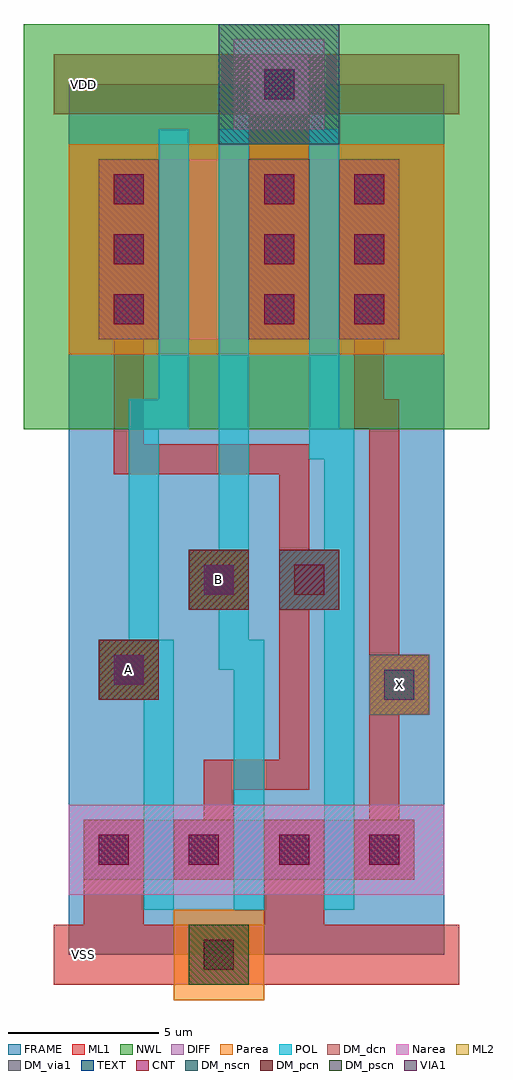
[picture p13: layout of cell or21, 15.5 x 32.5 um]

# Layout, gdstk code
import gdstk
lib = gdstk.Library(unit=1e-6, precision=1e-09)
def R(c, l, rs):  # rectangles x0, y0, x1, y1
    for r in rs: c.add(gdstk.rectangle(r[:2], r[2:], *l))
NWL = (1, 0)
DIFF = (3, 0)
POL = (5, 0)
CNT = (7, 0)
ML1 = (8, 0)
VIA1 = (9, 0)
ML2 = (10, 0)
TEXT = (13, 0)
FRAME = (14, 0)
Parea = (18, 0)
Narea = (19, 0)
DM_dcn = (101, 0)
DM_pcn = (102, 0)
DM_nscn = (103, 0)
DM_pscn = (104, 0)
DM_via1 = (105, 0)

dcont = lib.new_cell('dcont')
R(dcont, DIFF, [(-1,-1,1,1)])
R(dcont, CNT, [(-0.5,-0.5,0.5,0.5)])
R(dcont, ML1, [(-1,-1,1,1)])
R(dcont, TEXT, [(-0.5,-0.5,0.5,0.5)])
R(dcont, DM_dcn, [(-1,-1,1,1)])
dcont.add(gdstk.Label('dcont', (0,0), layer=13, texttype=0))

nsubcont = lib.new_cell('nsubcont')
R(nsubcont, NWL, [(-2,-2,2,2)])
R(nsubcont, Narea, [(-1.5,-1.5,1.5,1.5)])
R(nsubcont, DM_nscn, [(-2,-2,2,2)])
nsubcont.add(gdstk.Reference(dcont, (0,0)))
nsubcont.add(gdstk.Label('NScont', (0,0), layer=13, texttype=0))

pcont = lib.new_cell('pcont')
R(pcont, POL, [(-1,-1,1,1)])
R(pcont, CNT, [(-0.5,-0.5,0.5,0.5)])
R(pcont, ML1, [(-1,-1,1,1)])
R(pcont, DM_pcn, [(-1,-1,1,1)])
pcont.add(gdstk.Label('pcont', (0,0), layer=13, texttype=0))

via = lib.new_cell('Via')
R(via, ML1, [(-1,-1,1,1)])
R(via, VIA1, [(-0.5,-0.5,0.5,0.5)])
R(via, ML2, [(-1,-1,1,1)])
R(via, TEXT, [(-0.5,-0.5,0.5,0.5)])
R(via, DM_via1, [(-1,-1,1,1)])
via.add(gdstk.Label('via', (0,0), layer=13, texttype=0))

psubcont = lib.new_cell('psubcont')
R(psubcont, Parea, [(-1.5,-1.5,1.5,1.5)])
R(psubcont, DM_pscn, [(-1,-1,1,1)])
psubcont.add(gdstk.Reference(dcont, (0,0)))
psubcont.add(gdstk.Label('PScon', (0,0), layer=13, texttype=0))

or21 = lib.new_cell('or21')
R(or21, NWL, [(-1.5,17.5,14,31)])
R(or21, DIFF, [(0.5,2.5,11.5,4.5), (6.5,2.5,11.5,4.5), (1,20.5,11,26.5)])
R(or21, ML1, [(-0.5,-1,13,1), (10,8,12,10), (1,8.5,3,10.5), (4,11.5,6,13.5), (-0.5,28,13,30)])
R(or21, ML2, [(10,8,12,10), (1,8.5,3,10.5), (4,11.5,6,13.5)])
R(or21, FRAME, [(0,0,12.5,29)])
R(or21, Parea, [(0,20,12.5,27)])
R(or21, Narea, [(0,2,12.5,5)])
R(or21, DM_via1, [(10,8,12,10), (1,8.5,3,10.5), (4,11.5,6,13.5)])
or21.add(gdstk.FlexPath([(9,2),(9,17),(8.5,17),(8.5,27)], 1, ends="extended", simple_path=True, layer=5, datatype=0))  # POL
or21.add(gdstk.FlexPath([(3.5,27),(3.5,18),(2.5,18),(2.5,10),(3,10),(3,2)], 1, ends="extended", simple_path=True, layer=5, datatype=0))  # POL
or21.add(gdstk.FlexPath([(5.5,27),(5.5,10),(6,10),(6,2)], 1, ends="extended", simple_path=True, layer=5, datatype=0))  # POL
or21.add(gdstk.FlexPath([(10.5,3.5),(10.5,18),(10,18),(10,20.5)], 1, ends="extended", simple_path=True, layer=8, datatype=0))  # ML1
or21.add(gdstk.FlexPath([(10,22.3),(10,25.5)], 1.4, ends="extended", simple_path=True, layer=8, datatype=0))  # ML1
or21.add(gdstk.FlexPath([(7.5,1),(7.5,3.5)], 2, ends="extended", simple_path=True, layer=8, datatype=0))  # ML1
or21.add(gdstk.FlexPath([(7,21.5),(7,28.5)], 2, ends="extended", simple_path=True, layer=8, datatype=0))  # ML1
or21.add(gdstk.FlexPath([(5,3.5),(5,6),(7.5,6),(7.5,16.5),(2,16.5),(2,20.5)], 1, ends="extended", simple_path=True, layer=8, datatype=0))  # ML1
or21.add(gdstk.FlexPath([(2,22.3),(2,25.5)], 1.4, ends="extended", simple_path=True, layer=8, datatype=0))  # ML1
or21.add(gdstk.FlexPath([(1.5,1),(1.5,3.5)], 2, ends="extended", simple_path=True, layer=8, datatype=0))  # ML1
or21.add(gdstk.Reference(nsubcont, (7,29)))
or21.add(gdstk.Reference(dcont, (10,25.5)))
or21.add(gdstk.Reference(dcont, (7,25.5)))
or21.add(gdstk.Reference(pcont, (5,12.5)))
or21.add(gdstk.Reference(via, (5,12.5)))
or21.add(gdstk.Reference(psubcont, (5,0)))
or21.add(gdstk.Reference(dcont, (2,25.5)))
or21.add(gdstk.Reference(dcont, (10,21.5)))
or21.add(gdstk.Reference(dcont, (2,23.5)))
or21.add(gdstk.Reference(dcont, (10,23.5)))
or21.add(gdstk.Reference(pcont, (2,9.5)))
or21.add(gdstk.Reference(dcont, (4.5,3.5)))
or21.add(gdstk.Reference(dcont, (2,21.5)))
or21.add(gdstk.Reference(pcont, (8,12.5)))
or21.add(gdstk.Reference(dcont, (10.5,3.5)))
or21.add(gdstk.Reference(via, (2,9.5)))
or21.add(gdstk.Reference(dcont, (7.5,3.5)))
or21.add(gdstk.Reference(dcont, (7,21.5)))
or21.add(gdstk.Reference(via, (11,9)))
or21.add(gdstk.Reference(dcont, (1.5,3.5)))
or21.add(gdstk.Reference(dcont, (7,23.5)))
or21.add(gdstk.Label('VSS', (0.5,0), layer=8, texttype=0))
or21.add(gdstk.Label('VDD', (0.5,29), layer=8, texttype=0))
or21.add(gdstk.Label('A', (2,9.5), layer=10, texttype=0))
or21.add(gdstk.Label('B', (5,12.5), layer=10, texttype=0))
or21.add(gdstk.Label('X', (11,9), layer=10, texttype=0))
or21.add(gdstk.Label('via', (2,9.5), layer=13, texttype=0))
or21.add(gdstk.Label('via', (5,12.5), layer=13, texttype=0))
or21.add(gdstk.Label('via', (11,9), layer=13, texttype=0))

lib.write_gds('or21.gds')
